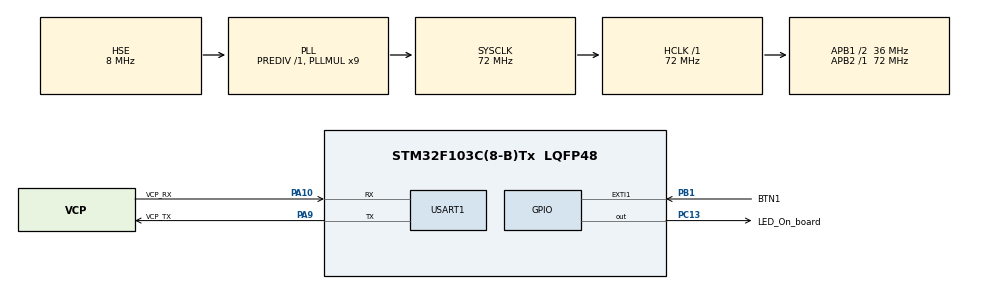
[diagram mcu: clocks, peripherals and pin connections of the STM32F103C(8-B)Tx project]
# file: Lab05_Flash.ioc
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Mcu.Family=STM32F1
Mcu.Name=STM32F103C(8-B)Tx
Mcu.Package=LQFP48
NVIC.EXTI1_IRQn=true\:0\:0\:false\:false\:true\:true\:true\:true
NVIC.PriorityGroup=NVIC_PRIORITYGROUP_4
PA10.GPIO_Label=VCP_RX
PA10.Mode=Asynchronous
PA10.Signal=USART1_RX
PA13.Mode=Serial_Wire
PA13.Signal=SYS_JTMS-SWDIO
PA14.Mode=Serial_Wire
PA14.Signal=SYS_JTCK-SWCLK
PA9.GPIO_Label=VCP_TX
PA9.Mode=Asynchronous
PA9.Signal=USART1_TX
PB1.GPIO_Label=BTN1
PB1.Signal=GPXTI1
PC13-TAMPER-RTC.GPIO_Label=LED_On_board
PC13-TAMPER-RTC.Signal=GPIO_Output
PD0-OSC_IN.Mode=HSE-External-Oscillator
PD0-OSC_IN.Signal=RCC_OSC_IN
PD1-OSC_OUT.Mode=HSE-External-Oscillator
PD1-OSC_OUT.Signal=RCC_OSC_OUT
ProjectManager.HeapSize=0x200
ProjectManager.StackSize=0x400
ProjectManager.TargetToolchain=STM32CubeIDE
RCC.AHBFreq_Value=72000000
RCC.APB1CLKDivider=RCC_HCLK_DIV2
RCC.APB1Freq_Value=36000000
RCC.APB1TimFreq_Value=72000000
RCC.APB2Freq_Value=72000000
RCC.APB2TimFreq_Value=72000000
RCC.HCLKFreq_Value=72000000
RCC.PLLMUL=RCC_PLL_MUL9
RCC.PLLSourceVirtual=RCC_PLLSOURCE_HSE
RCC.SYSCLKFreq_VALUE=72000000
RCC.SYSCLKSource=RCC_SYSCLKSOURCE_PLLCLK
RCC.USBFreq_Value=72000000
USART1.VirtualMode=VM_ASYNC
board=custom

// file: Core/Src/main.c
/* USER CODE BEGIN Header */
/**
  ******************************************************************************
  * @file           : main.c
  * @brief          : Main program body
  ******************************************************************************
  * @attention
  *
  * Copyright (c) 2024 STMicroelectronics.
  * All rights reserved.
  *
  * This software is licensed under terms that can be found in the LICENSE file
  * in the root directory of this software component.
  * If no LICENSE file comes with this software, it is provided AS-IS.
  *
  ******************************************************************************
  */
/* USER CODE END Header */
#include "main.h"
#include "usart.h"
#include "gpio.h"

/* USER CODE BEGIN Includes */
#include <stdio.h>
#include "flash.h"
/* USER CODE END Includes */

/* USER CODE BEGIN PD */
#define		RANGE	25
/* USER CODE END PD */

/* USER CODE BEGIN PV */
uint32_t data, threshold;
uint32_t addr = 0x0801FC00;
/* USER CODE END PV */

void SystemClock_Config(void);

/* USER CODE BEGIN 0 */
void HAL_GPIO_EXTI_Callback(uint16_t GPIO_Pin)
{
  /* Prevent unused argument(s) compilation warning */
  UNUSED(GPIO_Pin);
  data = 0;
  threshold = data + RANGE;
}
/* USER CODE END 0 */

int main(void)
{

  /* MCU Configuration--------------------------------------------------------*/

  /* Reset of all peripherals, Initializes the Flash interface and the Systick. */
  HAL_Init();

  /* Configure the system clock */
  SystemClock_Config();

  /* Initialize all configured peripherals */
  MX_GPIO_Init();
  MX_USART1_UART_Init();
  /* USER CODE BEGIN 2 */
  data = Flash_readData(addr) & 0xFF;

  HAL_GPIO_WritePin(LED_On_board_GPIO_Port, LED_On_board_Pin, GPIO_PIN_SET);
  if(!(data & 1)){
	  HAL_GPIO_WritePin(LED_On_board_GPIO_Port, LED_On_board_Pin, GPIO_PIN_RESET);
  }
  threshold = data + RANGE;
  /* USER CODE END 2 */

  /* Infinite loop */
  while (1)
  {

    /* USER CODE BEGIN 3 */
	uint8_t msg[50];
	sprintf(msg, "\nRange: %d\nNumber: %lu\n\r", RANGE, ++data);
	HAL_UART_Transmit(&huart1, msg, 50, HAL_MAX_DELAY);
	if(data >= threshold){
		return Flash_writeData(&addr, &data);
	}
	HAL_Delay(500);
  }
  /* USER CODE END 3 */
}

void SystemClock_Config(void)
{
  RCC_OscInitTypeDef RCC_OscInitStruct = {0};
  RCC_ClkInitTypeDef RCC_ClkInitStruct = {0};

  /** Initializes the RCC Oscillators according to the specified parameters
  * in the RCC_OscInitTypeDef structure.
  */
  RCC_OscInitStruct.OscillatorType = RCC_OSCILLATORTYPE_HSE;
  RCC_OscInitStruct.HSEState = RCC_HSE_ON;
  RCC_OscInitStruct.HSEPredivValue = RCC_HSE_PREDIV_DIV1;
  RCC_OscInitStruct.HSIState = RCC_HSI_ON;
  RCC_OscInitStruct.PLL.PLLState = RCC_PLL_ON;
  RCC_OscInitStruct.PLL.PLLSource = RCC_PLLSOURCE_HSE;
  RCC_OscInitStruct.PLL.PLLMUL = RCC_PLL_MUL9;
  if (HAL_RCC_OscConfig(&RCC_OscInitStruct) != HAL_OK)
  {
    Error_Handler();
  }

  /** Initializes the CPU, AHB and APB buses clocks
  */
  RCC_ClkInitStruct.ClockType = RCC_CLOCKTYPE_HCLK|RCC_CLOCKTYPE_SYSCLK
                              |RCC_CLOCKTYPE_PCLK1|RCC_CLOCKTYPE_PCLK2;
  RCC_ClkInitStruct.SYSCLKSource = RCC_SYSCLKSOURCE_PLLCLK;
  RCC_ClkInitStruct.AHBCLKDivider = RCC_SYSCLK_DIV1;
  RCC_ClkInitStruct.APB1CLKDivider = RCC_HCLK_DIV2;
  RCC_ClkInitStruct.APB2CLKDivider = RCC_HCLK_DIV1;

  if (HAL_RCC_ClockConfig(&RCC_ClkInitStruct, FLASH_LATENCY_2) != HAL_OK)
  {
    Error_Handler();
  }
}

void Error_Handler(void)
{
  __disable_irq();
  while (1)
  {
  }
}
